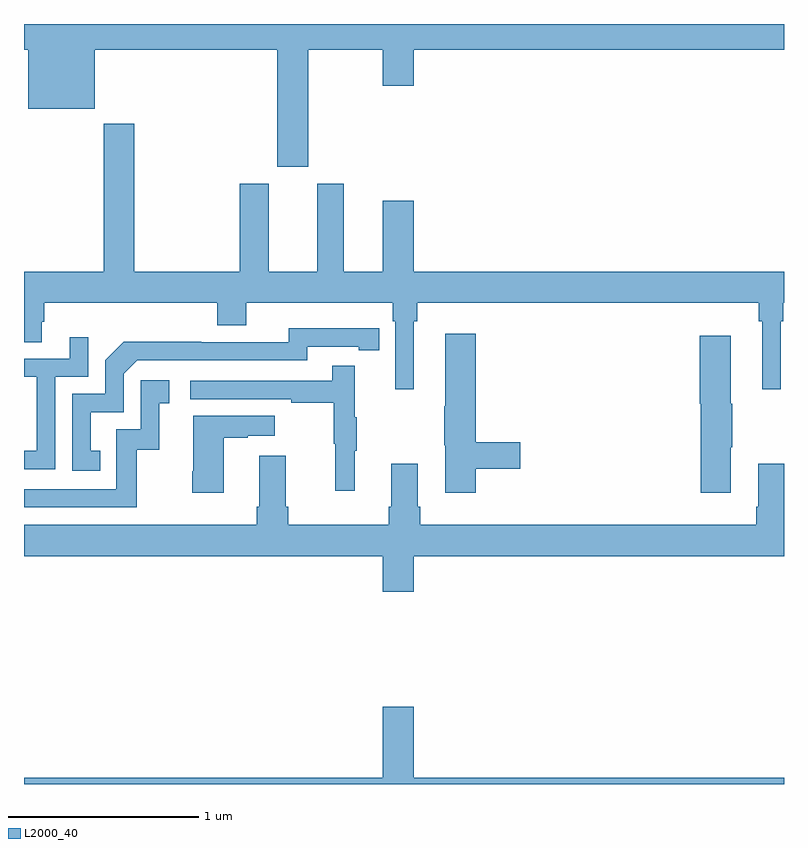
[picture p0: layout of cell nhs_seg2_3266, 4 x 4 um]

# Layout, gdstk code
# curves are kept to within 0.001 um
import gdstk
lib = gdstk.Library(unit=1e-6, precision=1e-09)
def P(c, l, *ps):  # polygons
    for p in ps: c.add(gdstk.Polygon(p, *l))
L2000_40 = (2000, 40)

nhs_seg2_3266 = lib.new_cell('nhs_seg2_3266')
P(nhs_seg2_3266, L2000_40, [(283,619.664),(283.022,619.664),(283.022,619.355),(283.372,619.355),(283.372,619.664),(284.333,619.664),(284.333,619.05),(284.497,619.05),(284.497,619.664),(284.888,619.664),(284.888,619.476),(285.052,619.476),(285.052,619.664),(287,619.664),(287,619.8),(283,619.8)],
  [(285.052,618.236),(285.071,618.236),(285.071,618.332),(286.867,618.332),(286.867,618.236),(286.886,618.236),(286.886,617.877),(286.983,617.877),(286.983,618.236),(286.997,618.236),(286.997,618.332),(287,618.332),(287,618.496),(285.052,618.496),(285.052,618.871),(284.888,618.871),(284.888,618.496),(284.683,618.496),(284.683,618.958),(284.543,618.958),(284.543,618.496),(284.287,618.496),(284.287,618.958),(284.135,618.958),(284.135,618.496),(283.58,618.496),(283.58,619.276),(283.42,619.276),(283.42,618.496),(283,618.496),(283,618.124),(283.093,618.124),(283.093,618.234),(283.106,618.234),(283.106,618.332),(284.018,618.332),(284.018,618.215),(284.17,618.215),(284.17,618.332),(284.942,618.332),(284.942,618.236),(284.955,618.236),(284.955,617.877),(285.052,617.877)],
  [(283.4,617.553),(283.351,617.553),(283.351,617.757),(283.524,617.757),(283.524,617.958),(283.596,618.03),(284.49,618.03),(284.49,618.102),(284.762,618.102),(284.762,618.082),(284.87,618.082),(284.87,618.198),(284.394,618.199),(284.394,618.126),(283.934,618.126),(283.934,618.128),(283.526,618.128),(283.428,618.03),(283.428,617.853),(283.254,617.853),(283.254,617.448),(283.4,617.448)],
  [(285.377,617.458),(285.613,617.458),(285.613,617.6),(285.377,617.6),(285.377,618.169),(285.218,618.169),(285.218,617.789),(285.211,617.789),(285.211,617.583),(285.218,617.583),(285.218,617.334),(285.377,617.334)],
  [(286.72,617.572),(286.728,617.572),(286.728,617.802),(286.72,617.802),(286.72,618.16),(286.556,618.16),(286.556,617.802),(286.562,617.802),(286.562,617.334),(286.72,617.334)],
  [(283.164,617.943),(283.338,617.943),(283.338,618.151),(283.241,618.151),(283.241,618.039),(283,618.039),(283,617.943),(283.068,617.943),(283.068,617.554),(283,617.554),(283,617.457),(283.164,617.457)],
  [(284.741,617.555),(284.752,617.555),(284.752,617.729),(284.741,617.729),(284.741,618.001),(284.623,618.001),(284.623,617.922),(283.875,617.922),(283.875,617.826),(284.407,617.826),(284.407,617.806),(284.631,617.806),(284.631,617.592),(284.638,617.592),(284.638,617.343),(284.741,617.343)],
  [(283.594,617.559),(283.712,617.559),(283.712,617.805),(283.765,617.805),(283.765,617.926),(283.614,617.926),(283.614,617.667),(283.485,617.667),(283.485,617.352),(283,617.352),(283,617.256),(283.594,617.256)],
  [(284.05,617.623),(284.177,617.623),(284.177,617.633),(284.32,617.633),(284.32,617.737),(283.892,617.737),(283.892,617.446),(283.885,617.446),(283.885,617.334),(284.05,617.334)],
  [(285.052,617),(287,617),(287,617.485),(286.865,617.485),(286.865,617.26),(286.853,617.26),(286.853,617.164),(285.086,617.164),(285.086,617.26),(285.073,617.26),(285.073,617.485),(284.933,617.485),(284.933,617.26),(284.921,617.26),(284.921,617.164),(284.39,617.164),(284.39,617.26),(284.377,617.26),(284.377,617.527),(284.237,617.527),(284.237,617.26),(284.225,617.26),(284.225,617.164),(283,617.164),(283,617),(284.888,617),(284.888,616.812),(285.052,616.812)],
  [(287,615.832),(285.052,615.832),(285.052,616.207),(284.888,616.207),(284.888,615.832),(283,615.832),(283,615.8),(287,615.8)])

lib.write_gds('nhs_seg2_3266.gds')
